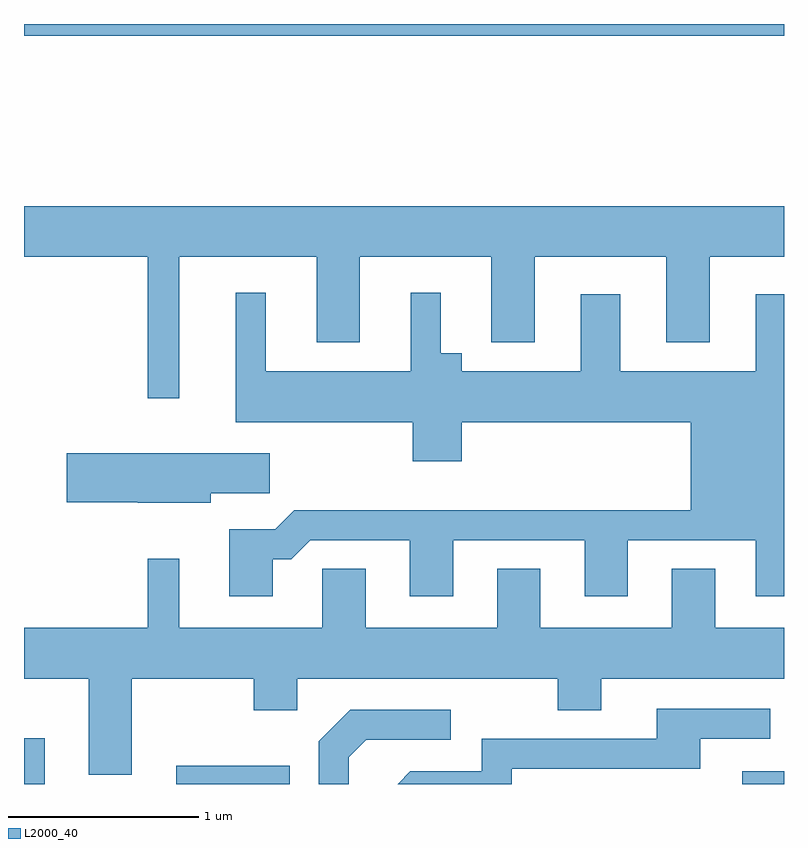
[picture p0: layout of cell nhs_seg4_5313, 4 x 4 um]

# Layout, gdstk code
import gdstk
lib = gdstk.Library(unit=1e-6, precision=1e-09)
def R(c, l, rs):  # rectangles x0, y0, x1, y1
    for r in rs: c.add(gdstk.rectangle(r[:2], r[2:], *l))
def P(c, l, *ps):  # polygons
    for p in ps: c.add(gdstk.Polygon(p, *l))
L2000_40 = (2000, 40)

nhs_seg4_5313 = lib.new_cell('nhs_seg4_5313')
R(nhs_seg4_5313, L2000_40, [(341.611,1271.982,341.719,1272.224), (342.411,1271.982,343.009,1272.079), (345.391,1271.982,345.611,1272.049), (341.611,1275.921,345.611,1275.982)])
P(nhs_seg4_5313, L2000_40, [(341.611,1274.756),(342.261,1274.756),(342.261,1274.013),(342.429,1274.013),(342.429,1274.756),(343.151,1274.756),(343.151,1274.306),(343.379,1274.306),(343.379,1274.756),(344.071,1274.756),(344.071,1274.306),(344.299,1274.306),(344.299,1274.756),(344.991,1274.756),(344.991,1274.306),(345.219,1274.306),(345.219,1274.756),(345.611,1274.756),(345.611,1275.024),(341.611,1275.024)],
  [(342.919,1273.166),(343.017,1273.166),(343.117,1273.266),(343.641,1273.266),(343.641,1272.971),(343.869,1272.971),(343.869,1273.266),(344.561,1273.266),(344.561,1272.971),(344.789,1272.971),(344.789,1273.266),(345.461,1273.266),(345.461,1272.971),(345.611,1272.971),(345.611,1274.559),(345.461,1274.559),(345.461,1274.154),(344.749,1274.154),(344.749,1274.559),(344.541,1274.559),(344.541,1274.154),(343.914,1274.154),(343.914,1274.249),(343.804,1274.249),(343.804,1274.568),(343.646,1274.568),(343.646,1274.154),(342.884,1274.154),(342.884,1274.568),(342.726,1274.568),(342.726,1273.886),(343.656,1273.886),(343.656,1273.681),(343.914,1273.681),(343.914,1273.886),(345.121,1273.886),(345.121,1273.424),(343.034,1273.424),(342.934,1273.324),(342.691,1273.324),(342.691,1272.971),(342.919,1272.971)],
  [(342.594,1273.511),(342.904,1273.511),(342.904,1273.724),(341.836,1273.724),(341.836,1273.466),(342.21,1273.466),(342.21,1273.461),(342.594,1273.461)],
  [(342.179,1272.536),(342.821,1272.536),(342.821,1272.371),(343.049,1272.371),(343.049,1272.536),(344.421,1272.536),(344.421,1272.371),(344.649,1272.371),(344.649,1272.536),(345.611,1272.536),(345.611,1272.804),(345.249,1272.804),(345.249,1273.114),(345.021,1273.114),(345.021,1272.804),(344.329,1272.804),(344.329,1273.114),(344.101,1273.114),(344.101,1272.804),(343.409,1272.804),(343.409,1273.114),(343.181,1273.114),(343.181,1272.804),(342.429,1272.804),(342.429,1273.168),(342.261,1273.168),(342.261,1272.804),(341.611,1272.804),(341.611,1272.536),(341.951,1272.536),(341.951,1272.031),(342.179,1272.031)],
  [(344.179,1272.061),(345.169,1272.061),(345.169,1272.221),(345.538,1272.221),(345.538,1272.379),(344.941,1272.379),(344.941,1272.219),(344.021,1272.219),(344.021,1272.049),(343.644,1272.049),(343.577,1271.982),(344.179,1271.982)],
  [(343.319,1272.124),(343.412,1272.216),(343.858,1272.216),(343.858,1272.374),(343.329,1272.374),(343.161,1272.207),(343.161,1271.982),(343.319,1271.982)])

lib.write_gds('nhs_seg4_5313.gds')
